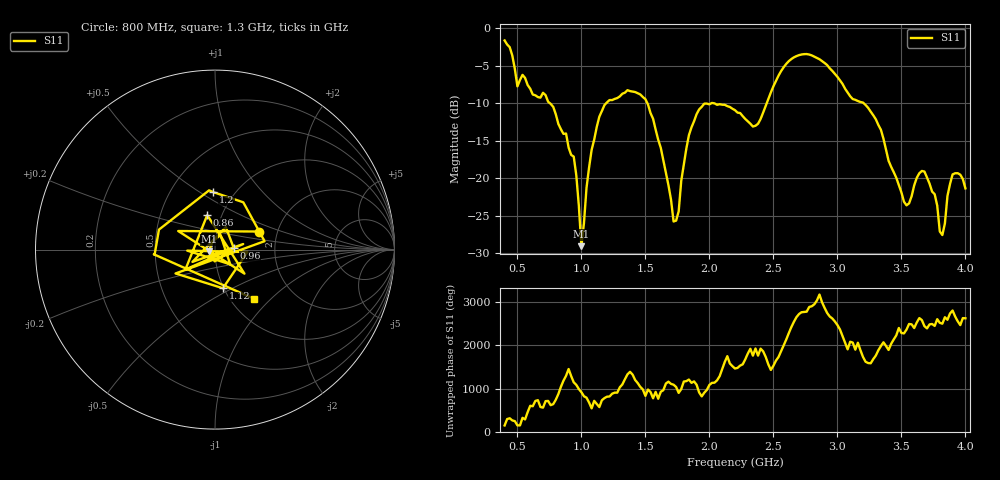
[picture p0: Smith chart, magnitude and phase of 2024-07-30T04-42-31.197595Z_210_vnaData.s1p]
!Created with skrf (http://scikit-rf.org).
# Hz S RI R 50.0
!freq ReS11 ImS11
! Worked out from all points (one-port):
!   181 points, 400 MHz to 4 GHz, reference 50 ohm
!   lowest |S11| = -29.0 dB at 1 GHz (marker M1), VSWR 1.07, Z = 46.7 - j0.869 ohm
!   |S11| at or under -10 dB: 753.3 MHz to 1.194 GHz (440.8 MHz wide, 45.3 % of centre); 1.515 GHz to 2.017 GHz (502 MHz wide, 28.4 % of centre); 3.205 GHz to end of sweep (the widest 3 of 4)
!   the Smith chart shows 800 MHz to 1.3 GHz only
!   S11 on the Smith chart (normalised r, x): 800 MHz: 1.61, +0.35; 860 MHz: 0.85, +0.34; 960 MHz: 1.23, +0.02; 1.12 GHz: 0.99, -0.45; 1.2 GHz: 0.80, +0.57; 1.3 GHz: 1.28, -0.80
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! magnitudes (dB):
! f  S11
! 400 MHz  -1.7
! 500 MHz  -7.8
! 540 MHz  -6.2
! 800 MHz  -11.5
! 860 MHz  -14.1
! 960 MHz  -19.6
! 1 GHz  -29.0
! 1.06 GHz  -18.6
! 1.12 GHz  -13.2
! 1.2 GHz  -9.9
! 1.3 GHz  -9.1
! 1.5 GHz  -9.5
! 1.62 GHz  -15.9
! 1.72 GHz  -25.8
! 1.76 GHz  -24.4
! 1.84 GHz  -14.3
! 1.92 GHz  -10.8
! 2.2 GHz  -10.9
! 2.38 GHz  -12.7
! 2.66 GHz  -3.9
! 2.86 GHz  -4.2
! 3.1 GHz  -9.1
! 3.3 GHz  -12.1
! 3.56 GHz  -23.3
! 3.68 GHz  -19.1
! 3.82 GHz  -27.6
! 3.9 GHz  -19.5
! 4 GHz  -21.3
